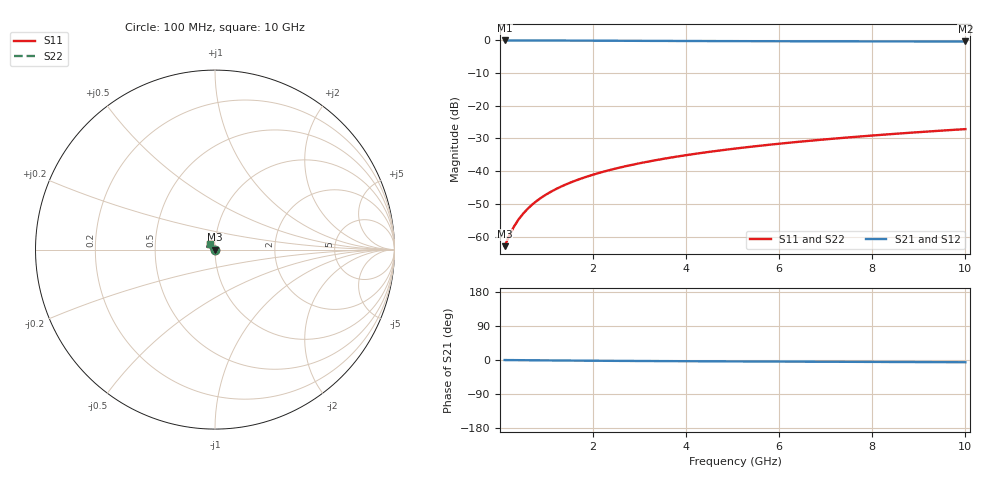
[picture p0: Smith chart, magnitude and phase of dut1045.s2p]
! Touchstone file exported from HFSS 2024.1.0
!  File:  C:/UserFiles/LocalFiles/RDL_TSV_Batchsim/temp_TSV1_1045_1780062065.aedt
!  Generated:  09:48:43 PM May 29, 2026
!  Design:  TSV1
!  Project:  temp_TSV1_1045_1780062065
!  Setup:  Setup1
!  Solution:  Sweep
! Variables:
!  dtsv = 5.03um
!  hbump = 3um
!  htsv = 84.62um
!  lrdl = 252.1521522um
!  p = 40
!  p1 = 54.07um
!  t = 500um
!  trdl = 3um
!  wrdl = 24.89489489um
# GHz S MA R 50.000000
! Terminal data exported
! Port[1] = TSV22_T1
! Port[2] = TSV22_T2
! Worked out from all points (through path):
!   100 points, 100 MHz to 10 GHz, reference 50 ohm
!   highest |S21| = -0.01 dB at 100 MHz (marker M1); lowest = -0.3 dB at 10 GHz (marker M2)
!   lowest |S11| = -62.9 dB at 100 MHz (marker M3), VSWR 1.00, Z = 50.1 - j0.046 ohm
!   |S11| at or under -10 dB: start of sweep to end of sweep
!   |S22| runs from -62.9 to -27.1 dB; largest |S21 - S12| = 3.5e-15
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0.1  0.0007122 -40.2  0.9994 -0.1  0.9994 -0.1  0.0007122 -40.2
! Gamma 0 0 0 0
! Port Impedance 50 0 50 0
0.2  0.001033 -62.7  0.9993 -0.2  0.9993 -0.2  0.001033 -62.7
0.3  0.001416 -75.4  0.9992 -0.3  0.9992 -0.3  0.001416 -75.4
0.4  0.001825 -83.8  0.999 -0.4  0.999 -0.4  0.001825 -83.8
0.5  0.002247 -90.1  0.9988 -0.5  0.9988 -0.5  0.002247 -90.1
0.6  0.002677 -95.3  0.9986 -0.6  0.9986 -0.6  0.002677 -95.3
0.7  0.003111 -99.7  0.9983 -0.7  0.9983 -0.7  0.003111 -99.7
0.9  0.003987 -107.5  0.9976 -0.9  0.9976 -0.9  0.003987 -107.5
1  0.004427 -110.9  0.9972 -1.0  0.9972 -1.0  0.004427 -110.9
1.2  0.005308 -117.4  0.9963 -1.2  0.9963 -1.2  0.005308 -117.4
1.5  0.006631 -126.2  0.9948 -1.5  0.9948 -1.5  0.006631 -126.2
1.8  0.007951 -134.2  0.9932 -1.7  0.9932 -1.7  0.007951 -134.2
2.1  0.009269 -141.6  0.9914 -2.0  0.9914 -2.0  0.009269 -141.6
2.5  0.01102 -150.8  0.989 -2.3  0.989 -2.3  0.01102 -150.8
2.9  0.01277 -159.1  0.9865 -2.6  0.9865 -2.6  0.01277 -159.1
3.4  0.01495 -168.4  0.9836 -2.9  0.9836 -2.9  0.01495 -168.4
4.2  0.01844 178.9  0.9794 -3.3  0.9794 -3.3  0.01844 178.9
5.1  0.02236 167.2  0.9755 -3.7  0.9755 -3.7  0.02236 167.2
5.9  0.02586 158.7  0.9726 -4.1  0.9726 -4.1  0.02586 158.7
6.7  0.02936 151.5  0.9702 -4.5  0.9702 -4.5  0.02936 151.5
8.4  0.03686 139.7  0.9663 -5.2  0.9663 -5.2  0.03686 139.7
10  0.04401 131.4  0.9636 -5.9  0.9636 -5.9  0.04401 131.4
